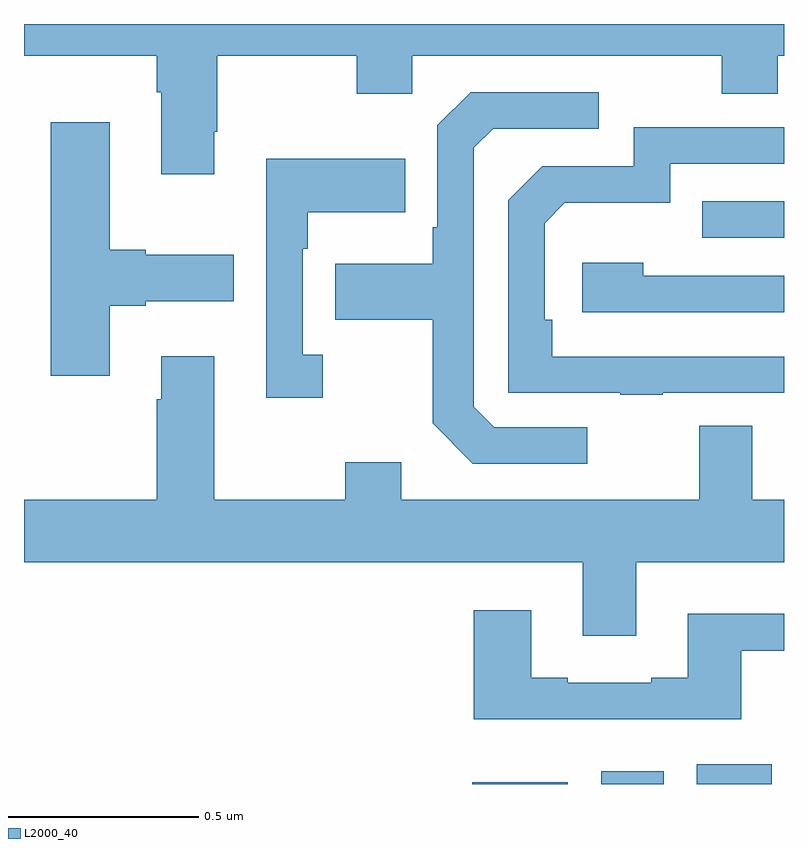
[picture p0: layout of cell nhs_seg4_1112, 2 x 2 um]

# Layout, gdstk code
import gdstk
lib = gdstk.Library(unit=1e-6, precision=1e-09)
def R(c, l, rs):  # rectangles x0, y0, x1, y1
    for r in rs: c.add(gdstk.rectangle(r[:2], r[2:], *l))
def P(c, l, *ps):  # polygons
    for p in ps: c.add(gdstk.Polygon(p, *l))
L2000_40 = (2000, 40)

nhs_seg4_1112 = lib.new_cell('nhs_seg4_1112')
R(nhs_seg4_1112, L2000_40, [(125.18,798.9,125.431,798.904), (125.519,798.9,125.683,798.934), (125.771,798.9,125.968,798.952), (125.785,800.337,126,800.433)])
P(nhs_seg4_1112, L2000_40, [(124.501,800.617),(124.509,800.617),(124.509,800.816),(124.876,800.816),(124.876,800.717),(125.022,800.717),(125.022,800.816),(125.836,800.816),(125.836,800.717),(125.983,800.717),(125.983,800.816),(126,800.816),(126,800.9),(124,800.9),(124,800.816),(124.349,800.816),(124.349,800.72),(124.361,800.72),(124.361,800.505),(124.501,800.505)],
  [(125.482,799.839),(125.238,799.839),(125.184,799.893),(125.184,800.574),(125.235,800.625),(125.512,800.625),(125.512,800.721),(125.175,800.721),(125.088,800.634),(125.088,800.365),(125.076,800.365),(125.076,800.269),(124.819,800.269),(124.819,800.122),(125.076,800.122),(125.076,799.849),(125.181,799.743),(125.482,799.743)],
  [(124.225,800.159),(124.321,800.159),(124.321,800.171),(124.552,800.171),(124.552,800.293),(124.321,800.293),(124.321,800.306),(124.225,800.306),(124.225,800.641),(124.07,800.641),(124.07,799.974),(124.225,799.974)],
  [(125.681,799.929),(126,799.929),(126,800.025),(125.39,800.025),(125.39,800.122),(125.37,800.122),(125.37,800.376),(125.423,800.429),(125.7,800.429),(125.7,800.532),(126,800.532),(126,800.628),(125.604,800.628),(125.604,800.526),(125.364,800.526),(125.274,800.436),(125.274,799.929),(125.569,799.929),(125.569,799.924),(125.681,799.924)],
  [(124.786,800.03),(124.734,800.03),(124.734,800.309),(124.747,800.309),(124.747,800.405),(125.003,800.405),(125.003,800.545),(124.638,800.545),(124.638,799.917),(124.786,799.917)],
  [(126,800.238),(125.63,800.238),(125.63,800.272),(125.469,800.272),(125.469,800.142),(126,800.142)],
  [(125.611,799.484),(126,799.484),(126,799.648),(125.917,799.648),(125.917,799.843),(125.777,799.843),(125.777,799.648),(124.993,799.648),(124.993,799.747),(124.846,799.747),(124.846,799.648),(124.501,799.648),(124.501,800.026),(124.361,800.026),(124.361,799.913),(124.349,799.913),(124.349,799.648),(124,799.648),(124,799.484),(125.471,799.484),(125.471,799.29),(125.611,799.29)],
  [(125.887,799.251),(126,799.251),(126,799.348),(125.747,799.348),(125.747,799.18),(125.651,799.18),(125.651,799.167),(125.431,799.167),(125.431,799.18),(125.335,799.18),(125.335,799.357),(125.183,799.357),(125.183,799.07),(125.887,799.07)])

lib.write_gds('nhs_seg4_1112.gds')
